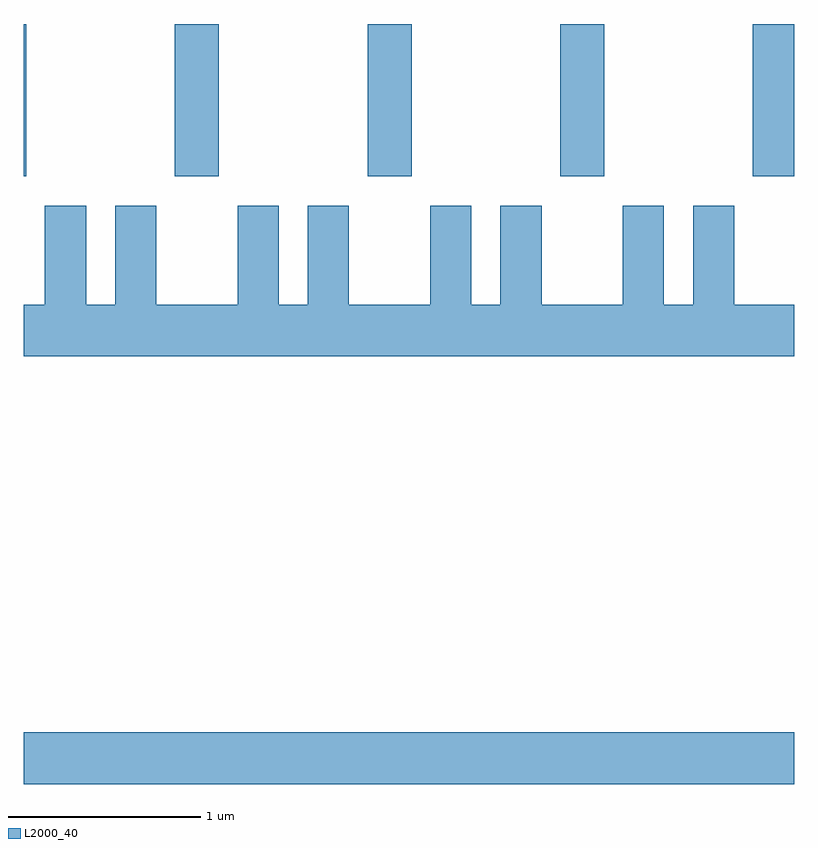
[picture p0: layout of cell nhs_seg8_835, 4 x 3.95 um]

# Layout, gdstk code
import gdstk
lib = gdstk.Library(unit=1e-6, precision=1e-09)
def R(c, l, rs):  # rectangles x0, y0, x1, y1
    for r in rs: c.add(gdstk.rectangle(r[:2], r[2:], *l))
def A(c, l, x, y, w, h, nx, ny, dx, dy):  # array of equal rectangles
    R(c, l, [(x+i*dx, y+j*dy, x+i*dx+w, y+j*dy+h) for i in range(nx) for j in range(ny)])
def P(c, l, *ps):  # polygons
    for p in ps: c.add(gdstk.Polygon(p, *l))
L2000_40 = (2000, 40)

nhs_seg8_835 = lib.new_cell('nhs_seg8_835')
A(nhs_seg8_835, L2000_40, 210.396, 1859.551, 0.228, 0.791, 3, 1, 1, 0)
R(nhs_seg8_835, L2000_40, [(209.611,1856.396,213.611,1856.664), (209.611,1859.551,209.624,1860.342), (213.396,1859.551,213.611,1860.342)])
P(nhs_seg8_835, L2000_40, [(213.611,1858.884),(213.299,1858.884),(213.299,1859.399),(213.086,1859.399),(213.086,1858.884),(212.934,1858.884),(212.934,1859.399),(212.721,1859.399),(212.721,1858.884),(212.299,1858.884),(212.299,1859.399),(212.086,1859.399),(212.086,1858.884),(211.934,1858.884),(211.934,1859.399),(211.721,1859.399),(211.721,1858.884),(211.299,1858.884),(211.299,1859.399),(211.086,1859.399),(211.086,1858.884),(210.934,1858.884),(210.934,1859.399),(210.721,1859.399),(210.721,1858.884),(210.299,1858.884),(210.299,1859.399),(210.086,1859.399),(210.086,1858.884),(209.934,1858.884),(209.934,1859.399),(209.721,1859.399),(209.721,1858.884),(209.611,1858.884),(209.611,1858.616),(213.611,1858.616)])

lib.write_gds('nhs_seg8_835.gds')
